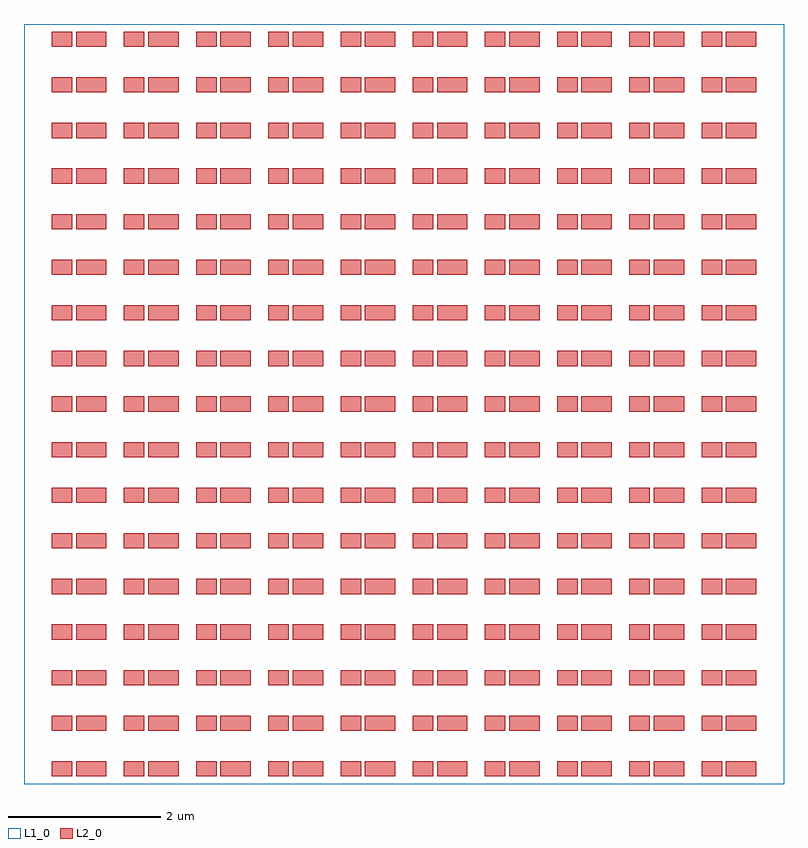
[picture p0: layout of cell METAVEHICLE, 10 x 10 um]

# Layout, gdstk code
import gdstk
lib = gdstk.Library(unit=1e-6, precision=1e-09)
def R(c, l, rs):  # rectangles x0, y0, x1, y1
    for r in rs: c.add(gdstk.rectangle(r[:2], r[2:], *l))
def A(c, l, x, y, w, h, nx, ny, dx, dy):  # array of equal rectangles
    R(c, l, [(x+i*dx, y+j*dy, x+i*dx+w, y+j*dy+h) for i in range(nx) for j in range(ny)])
L1_0 = (1, 0)
L2_0 = (2, 0)

metavehicle = lib.new_cell('METAVEHICLE')
R(metavehicle, L1_0, [(-5,-5,5,5)])
A(metavehicle, L2_0, -4.635, -4.9, 0.27, 0.2, 10, 17, 0.95, 0.6)
A(metavehicle, L2_0, -4.315, -4.9, 0.4, 0.2, 10, 17, 0.95, 0.6)

lib.write_gds('METAVEHICLE.gds')
